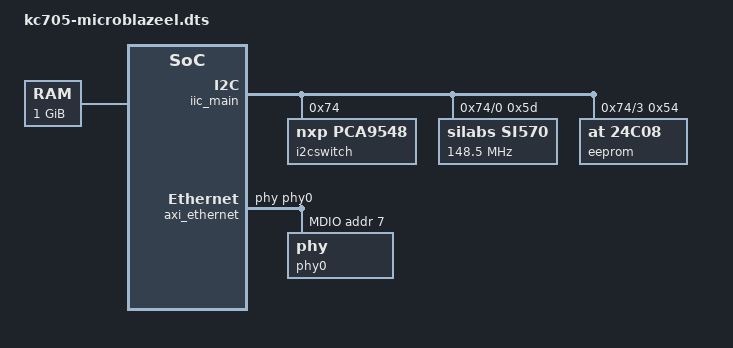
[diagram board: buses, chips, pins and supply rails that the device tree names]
/dts-v1/;
/include/ "pl.dtsi"
/include/ "system-conf.dtsi"
/ {
	hard-reset-gpios = <&reset_gpio 0 1>;
	aliases {
		ethernet0 = &axi_ethernet;
		i2c0 = &iic_main;
		serial0 = &rs232_uart;
	};
	memory {
		device_type = "memory";
		reg = <0x80000000 0x40000000>;
	};
};

&iic_main {
	i2cswitch@74 {
		compatible = "nxp,pca9548";
		#address-cells = <1>;
		#size-cells = <0>;
		reg = <0x74>;
		i2c@0 {
			#address-cells = <1>;
			#size-cells = <0>;
			reg = <0>;
			si570: clock-generator@5d {
				#clock-cells = <0>;
				compatible = "silabs,si570";
				temperature-stability = <50>;
				reg = <0x5d>;
				factory-fout = <156250000>;
				clock-frequency = <148500000>;
			};
		};
		i2c@3 {
			#address-cells = <1>;
			#size-cells = <0>;
			reg = <3>;
			eeprom@54 {
				compatible = "at,24c08";
				reg = <0x54>;
			};
		};
	};
};

&axi_ethernet {
	phy-handle = <&phy0>;
	axi_ethernet_mdio: mdio {
		phy0: phy@7 {
			device_type = "ethernet-phy";
			reg = <7>;
		};
	};
};
